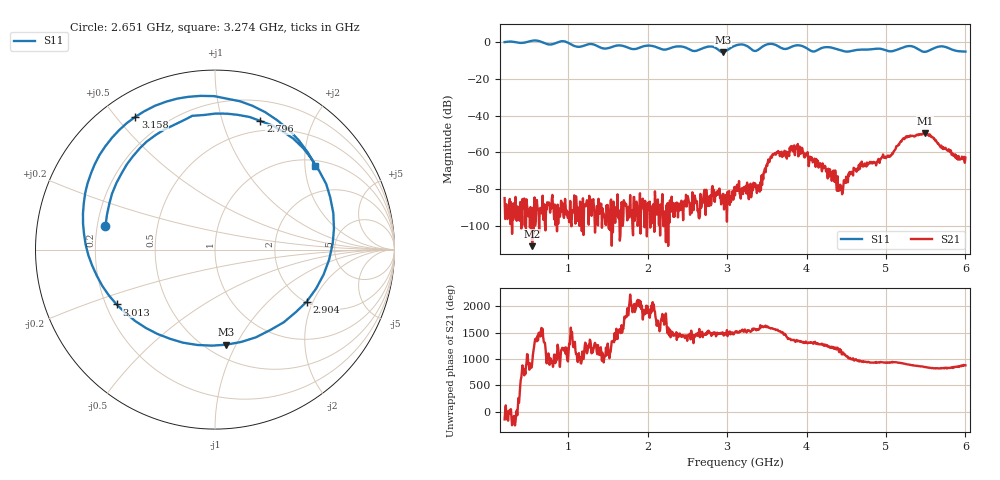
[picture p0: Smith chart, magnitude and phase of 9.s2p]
! NanoVNA-App
! Date: 2024-06-25 16:10:55
! Start: 200MHz Stop: 6GHz Points: 801
! S-Parameter data: F S11 S21 S12 S22
# Hz S RI R 50
!  Frequency  S11_Real  S11_Imag  S21_Real  S21_Imag  S12_Real  S12_Imag  S22_Real  S22_Imag
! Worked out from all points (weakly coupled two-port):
!   801 points, 200 MHz to 6 GHz, reference 50 ohm
!   highest |S21| = -49.75 dB at 5.492 GHz (marker M1); lowest = -111.2 dB at 548 MHz (marker M2)
!   lowest |S11| = -5.5 dB at 2.948 GHz (marker M3), VSWR 3.29, Z = 30.9 - j45.7 ohm
!   |S11| at or under -10 dB: nowhere
!   S12 and S22 are empty: the file has one direction only
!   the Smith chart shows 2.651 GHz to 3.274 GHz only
!   S11 on the Smith chart (normalised r, x): 2.651 GHz: 0.23, +0.10; 2.796 GHz: 0.39, +1.34; 2.904 GHz: 2.02, -1.79; 3.013 GHz: 0.24, -0.25; 3.158 GHz: 0.10, +0.56; 3.274 GHz: 1.13, +2.27
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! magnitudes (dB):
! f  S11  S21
! 200 MHz  0.0  -85.0
! 548 MHz  0.8  -111.2
! 1.171 GHz  -2.3  -103.0
! 2.136 GHz  -3.1  -91.3
! 2.651 GHz  -4.1  -96.0
! 2.796 GHz  -2.4  -88.9
! 2.904 GHz  -4.6  -79.8
! 2.948 GHz  -5.5  -82.7
! 3.013 GHz  -4.0  -85.1
! 3.1 GHz  -1.9  -83.5
! 3.158 GHz  -1.3  -82.5
! 3.274 GHz  -2.7  -85.6
! 3.397 GHz  -4.0  -79.8
! 3.615 GHz  -1.6  -61.3
! 3.89 GHz  -1.7  -55.5
! 4.072 GHz  -5.0  -64.1
! 4.427 GHz  -4.4  -77.7
! 4.673 GHz  -4.1  -68.9
! 5.036 GHz  -4.9  -61.9
! 5.231 GHz  -2.6  -52.9
! 5.492 GHz  -5.3  -49.7
! 6 GHz  -5.1  -62.9
